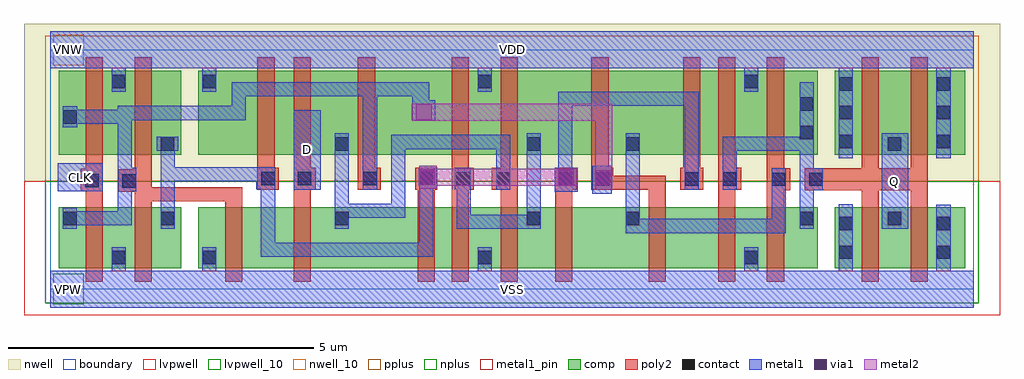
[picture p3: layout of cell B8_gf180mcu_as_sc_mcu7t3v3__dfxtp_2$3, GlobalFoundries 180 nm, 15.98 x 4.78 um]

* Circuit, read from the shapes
.subckt B8_gf180mcu_as_sc_mcu7t3v3__dfxtp_2$3 CLK D Q VDD VNW VSS
XM1 VSS CLK n1 VSUBS nfet_03v3 w=1u l=0.28u
XM2 n2 n1 VSS VSUBS nfet_03v3 w=1u l=0.28u
XM3 n3 n1 VSS VSUBS nfet_03v3 w=1u l=0.28u
XM4 n4 D n3 VSUBS nfet_03v3 w=1u l=0.28u
XM5 n5 n2 n4 VSUBS nfet_03v3 w=1u l=0.28u
XM6 VSS n6 n5 VSUBS nfet_03v3 w=1u l=0.28u
XM7 n6 n4 VSS VSUBS nfet_03v3 w=1u l=0.28u
XM8 n7 n2 n6 VSUBS nfet_03v3 w=1u l=0.28u
XM9 n8 n1 n7 VSUBS nfet_03v3 w=1u l=0.28u
XM10 VSS n9 n8 VSUBS nfet_03v3 w=1u l=0.28u
XM11 n9 n7 VSS VSUBS nfet_03v3 w=1u l=0.28u
XM12 Q n9 VSS VSUBS nfet_03v3 w=1u l=0.28u m=2
XM13 VDD CLK n1 VNW pfet_03v3 w=1.38u l=0.28u
XM14 n2 n1 VDD VNW pfet_03v3 w=1.38u l=0.28u
XM15 n10 n2 VDD VNW pfet_03v3 w=1.38u l=0.285u
XM16 n4 D n10 VNW pfet_03v3 w=1.38u l=0.28u
XM17 n11 n1 n4 VNW pfet_03v3 w=1.38u l=0.285u
XM18 VDD n6 n11 VNW pfet_03v3 w=1.38u l=0.28u
XM19 n6 n4 VDD VNW pfet_03v3 w=1.38u l=0.28u
XM20 n7 n1 n6 VNW pfet_03v3 w=1.38u l=0.28u
XM21 n12 n2 n7 VNW pfet_03v3 w=1.38u l=0.28u
XM22 VDD n9 n12 VNW pfet_03v3 w=1.38u l=0.28u
XM23 n9 n7 VDD VNW pfet_03v3 w=1.38u l=0.28u
XM24 Q n9 VDD VNW pfet_03v3 w=1.38u l=0.28u m=2
.ends

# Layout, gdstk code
import gdstk
lib = gdstk.Library(unit=1e-6, precision=1e-09)
def R(c, l, rs):  # rectangles x0, y0, x1, y1
    for r in rs: c.add(gdstk.rectangle(r[:2], r[2:], *l))
def A(c, l, x, y, w, h, nx, ny, dx, dy):  # array of equal rectangles
    R(c, l, [(x+i*dx, y+j*dy, x+i*dx+w, y+j*dy+h) for i in range(nx) for j in range(ny)])
boundary = (0, 0)
nwell = (21, 0)
nwell_10 = (21, 10)
comp = (22, 0)
poly2 = (30, 0)
pplus = (31, 0)
nplus = (32, 0)
contact = (33, 0)
metal1 = (34, 0)
metal1_pin = (34, 10)
via1 = (35, 0)
metal2 = (36, 0)
lvpwell = (204, 0)
lvpwell_10 = (204, 10)

b8_gf180mcu_as_sc_mcu7t3 = lib.new_cell('B8_gf180mcu_as_sc_mcu7t3v3__dfxtp_2$3')
R(b8_gf180mcu_as_sc_mcu7t3, boundary, [(0,0,15.12,3.92)])
R(b8_gf180mcu_as_sc_mcu7t3, nwell, [(-0.43,1.77,15.55,4.35)])
R(b8_gf180mcu_as_sc_mcu7t3, nwell_10, [(0.05,3.67,0.55,4.17)])
R(b8_gf180mcu_as_sc_mcu7t3, comp, [(0.14,0.34,2.145,1.34), (2.425,0.34,12.565,1.34), (12.845,0.34,14.98,1.34), (0.14,2.2,2.145,3.58), (2.425,2.2,12.565,3.58), (12.845,2.2,14.98,3.58)])
R(b8_gf180mcu_as_sc_mcu7t3, poly2, [(0.58,0.12,0.86,1.6), (1.38,0.12,1.66,1.44), (2.865,0.12,3.145,1.44), (3.985,0.12,4.265,1.63), (6.015,0.12,6.295,1.63), (6.575,0.12,6.855,1.63), (7.375,0.12,7.655,1.625), (8.265,0.12,8.545,1.625), (9.795,0.12,10.075,1.625), (10.935,0.12,11.215,1.625), (11.735,0.12,12.015,1.62), (13.285,0.12,13.565,1.62), (14.085,0.12,14.365,1.62), (1.38,1.44,3.145,1.595), (1.11,1.595,3.145,1.67), (0.5,1.6,0.86,1.97), (11.735,1.62,12.115,1.98), (12.355,1.62,14.365,1.98), (7.23,1.625,7.655,1.985), (8.26,1.625,8.62,1.985), (8.86,1.625,10.075,1.855), (10.315,1.625,10.695,1.985), (10.935,1.625,11.315,1.985), (3.385,1.63,3.745,1.99), (3.985,1.63,4.345,1.99), (5.035,1.63,5.415,1.99), (5.975,1.63,6.335,1.99), (6.575,1.63,6.935,1.99), (1.11,1.67,1.66,1.965), (8.86,1.855,9.22,1.985), (1.38,1.965,1.66,3.8), (0.58,1.97,0.86,3.8), (11.735,1.98,12.015,3.8), (13.285,1.98,13.565,3.8), (14.085,1.98,14.365,3.8), (7.375,1.985,7.655,3.8), (8.86,1.985,9.14,3.8), (10.36,1.985,10.64,3.8), (10.935,1.985,11.215,3.8), (3.39,1.99,3.675,3.8), (3.985,1.99,4.265,3.8), (5.035,1.99,5.32,3.8), (6.575,1.99,6.855,3.8)])
R(b8_gf180mcu_as_sc_mcu7t3, pplus, [(-0.08,1.77,15.2,4.15)])
R(b8_gf180mcu_as_sc_mcu7t3, nplus, [(-0.08,-0.23,15.2,1.77)])
A(b8_gf180mcu_as_sc_mcu7t3, contact, 12.915, 2.31, 0.22, 0.22, 1, 3, 0, 0.47)
A(b8_gf180mcu_as_sc_mcu7t3, contact, 14.515, 2.31, 0.22, 0.22, 1, 3, 0, 0.47)
R(b8_gf180mcu_as_sc_mcu7t3, contact, [(1.01,0.41,1.23,0.63), (2.495,0.41,2.715,0.63), (7.005,0.41,7.225,0.63), (11.365,0.41,11.585,0.63), (12.915,0.495,13.135,0.715), (14.515,0.495,14.735,0.715), (12.915,0.965,13.135,1.185), (14.515,0.965,14.735,1.185), (0.21,1.05,0.43,1.27), (1.81,1.05,2.03,1.27), (4.665,1.05,4.885,1.27), (7.805,1.05,8.025,1.27), (9.425,1.05,9.645,1.27), (12.275,1.05,12.495,1.27), (13.715,1.05,13.935,1.27), (1.18,1.665,1.4,1.885), (0.57,1.67,0.79,1.89), (11.815,1.69,12.035,1.91), (12.425,1.69,12.645,1.91), (7.305,1.695,7.525,1.915), (8.33,1.695,8.55,1.915), (8.93,1.695,9.15,1.915), (10.395,1.695,10.615,1.915), (11.015,1.695,11.235,1.915), (3.455,1.7,3.675,1.92), (4.055,1.7,4.275,1.92), (5.125,1.7,5.345,1.92), (6.045,1.7,6.265,1.92), (6.645,1.7,6.865,1.92), (1.81,2.27,2.03,2.49), (4.665,2.27,4.885,2.49), (7.805,2.27,8.025,2.49), (9.425,2.27,9.645,2.49), (13.715,2.27,13.935,2.49), (12.275,2.455,12.495,2.675), (0.21,2.71,0.43,2.93), (12.275,2.925,12.495,3.145), (1.01,3.29,1.23,3.51), (2.495,3.29,2.715,3.51), (7.005,3.29,7.225,3.51), (11.365,3.29,11.585,3.51)])
R(b8_gf180mcu_as_sc_mcu7t3, metal1, [(0,-0.3,15.12,0.3), (1.005,0.3,1.235,0.69), (2.49,0.3,2.72,0.69), (7,0.3,7.23,0.69), (11.36,0.3,11.59,0.69), (12.91,0.3,13.14,1.39), (14.51,0.3,14.74,1.385), (3.45,0.53,6.27,0.76), (3.45,0.76,3.68,1.64), (6.04,0.76,6.27,1.645), (9.42,0.92,12.04,1.15), (0.205,0.99,0.435,1.045), (1.805,0.99,2.035,1.77), (4.66,0.99,4.89,1.17), (6.655,0.99,8.03,1.22), (12.27,0.99,12.5,1.62), (13.615,0.99,14.045,2.55), (0.205,1.045,1.335,1.275), (9.42,1.15,9.65,2.55), (11.81,1.15,12.04,1.98), (4.66,1.17,5.81,1.4), (6.655,1.22,6.885,1.64), (7.8,1.22,8.03,2.55), (0.205,1.275,0.435,1.33), (1.105,1.275,1.335,1.605), (4.66,1.4,4.89,2.55), (5.58,1.4,5.81,2.295), (8.87,1.56,9.19,2.025), (8.26,1.595,8.64,1.985), (0.125,1.6,0.86,2.06), (1.105,1.605,1.405,1.985), (12.27,1.62,12.65,1.98), (7.3,1.625,7.53,2.295), (10.39,1.625,10.62,3.005), (11.01,1.625,11.24,2.27), (3.985,1.63,4.43,2.93), (5.12,1.63,5.35,3.16), (3.375,1.64,3.68,1.77), (6.625,1.64,6.885,1.99), (6.04,1.645,6.325,1.99), (1.805,1.77,3.68,2), (12.27,1.98,12.5,2.27), (1.105,1.985,1.335,2.705), (8.32,1.985,8.55,3.005), (6.045,1.99,6.325,2.025), (1.805,2,2.035,2.265), (12.91,2.145,13.14,3.62), (14.51,2.145,14.74,3.62), (1.745,2.265,2.095,2.495), (11.01,2.27,12.5,2.5), (5.58,2.295,7.53,2.525), (12.27,2.5,12.5,3.39), (0.205,2.65,0.445,2.705), (0.205,2.705,1.335,2.77), (5.925,2.755,6.305,3.09), (0.205,2.77,3.2,2.935), (0.205,2.935,0.445,2.995), (1.105,2.935,3.2,3), (2.97,3,3.2,3.16), (8.32,3.005,10.62,3.235), (5.925,3.09,6.205,3.16), (2.97,3.16,6.205,3.39), (1.005,3.23,1.235,3.62), (2.49,3.23,2.72,3.62), (7,3.23,7.23,3.62), (11.36,3.23,11.59,3.62), (0,3.62,15.12,4.22)])
R(b8_gf180mcu_as_sc_mcu7t3, metal1_pin, [(0,-0.3,15.12,0.3), (13.615,0.99,14.045,2.55), (0.125,1.6,0.86,2.06), (3.985,1.63,4.43,2.93), (0,3.62,15.12,4.22)])
R(b8_gf180mcu_as_sc_mcu7t3, via1, [(8.93,1.7,9.19,1.96), (6.045,1.705,6.305,1.965), (8.32,1.705,8.58,1.965), (5.985,2.77,6.245,3.03)])
R(b8_gf180mcu_as_sc_mcu7t3, metal2, [(8.92,1.64,9.2,2.76), (6.045,1.645,6.325,1.695), (6.035,1.695,8.64,1.975), (6.045,1.975,6.325,2.025), (5.915,2.76,9.2,3.04)])
R(b8_gf180mcu_as_sc_mcu7t3, lvpwell, [(-0.43,-0.43,15.55,1.77)])
R(b8_gf180mcu_as_sc_mcu7t3, lvpwell_10, [(0.05,-0.25,0.55,0.25)])
b8_gf180mcu_as_sc_mcu7t3.add(gdstk.Label('Q', (13.83,1.77), layer=34, texttype=10))
b8_gf180mcu_as_sc_mcu7t3.add(gdstk.Label('D', (4.207,2.28), layer=34, texttype=10))
b8_gf180mcu_as_sc_mcu7t3.add(gdstk.Label('CLK', (0.492,1.83), layer=34, texttype=10))
b8_gf180mcu_as_sc_mcu7t3.add(gdstk.Label('VSS', (7.56,0), layer=34, texttype=10))
b8_gf180mcu_as_sc_mcu7t3.add(gdstk.Label('VDD', (7.56,3.92), layer=34, texttype=10))
b8_gf180mcu_as_sc_mcu7t3.add(gdstk.Label('VNW', (0.3,3.92), layer=21, texttype=10))
b8_gf180mcu_as_sc_mcu7t3.add(gdstk.Label('VPW', (0.3,0), layer=204, texttype=10))

lib.write_gds('B8_gf180mcu_as_sc_mcu7t3v3__dfxtp_2_3.gds')
